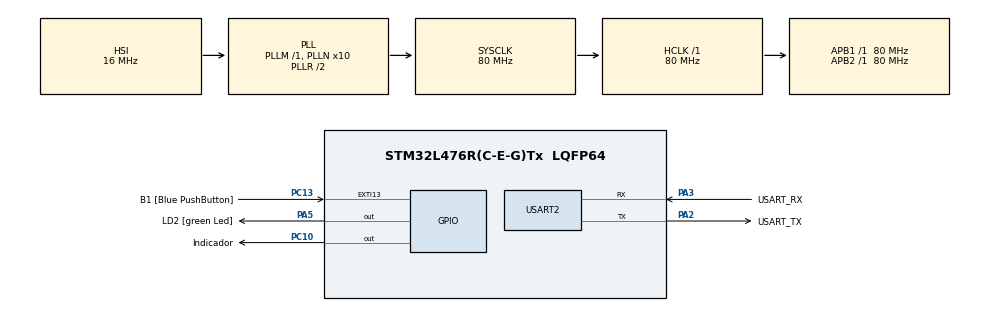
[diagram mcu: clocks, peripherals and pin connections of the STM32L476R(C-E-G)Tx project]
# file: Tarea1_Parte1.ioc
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Dma.MEMTOMEM.0.Direction=DMA_MEMORY_TO_MEMORY
Dma.MEMTOMEM.0.Instance=DMA1_Channel1
Dma.MEMTOMEM.0.MemDataAlignment=DMA_MDATAALIGN_BYTE
Dma.MEMTOMEM.0.MemInc=DMA_MINC_ENABLE
Dma.MEMTOMEM.0.Mode=DMA_NORMAL
Dma.MEMTOMEM.0.PeriphDataAlignment=DMA_PDATAALIGN_BYTE
Dma.MEMTOMEM.0.PeriphInc=DMA_PINC_ENABLE
Dma.MEMTOMEM.0.Priority=DMA_PRIORITY_VERY_HIGH
Dma.Request0=MEMTOMEM
Mcu.Family=STM32L4
Mcu.Name=STM32L476R(C-E-G)Tx
Mcu.Package=LQFP64
NVIC.DMA1_Channel1_IRQn=true\:0\:0\:false\:false\:true\:true\:true\:true
NVIC.PriorityGroup=NVIC_PRIORITYGROUP_4
PA13\ (JTMS-SWDIO).GPIO_Label=TMS
PA13\ (JTMS-SWDIO).Mode=Serial_Wire
PA13\ (JTMS-SWDIO).Signal=SYS_JTMS-SWDIO
PA14\ (JTCK-SWCLK).GPIO_Label=TCK
PA14\ (JTCK-SWCLK).Mode=Serial_Wire
PA14\ (JTCK-SWCLK).Signal=SYS_JTCK-SWCLK
PA2.GPIO_Label=USART_TX
PA2.GPIO_Mode=GPIO_MODE_AF_PP
PA2.GPIO_PuPd=GPIO_NOPULL
PA2.GPIO_Speed=GPIO_SPEED_FREQ_VERY_HIGH
PA2.Mode=Asynchronous
PA2.Signal=USART2_TX
PA3.GPIO_Label=USART_RX
PA3.GPIO_Mode=GPIO_MODE_AF_PP
PA3.GPIO_PuPd=GPIO_NOPULL
PA3.GPIO_Speed=GPIO_SPEED_FREQ_VERY_HIGH
PA3.Mode=Asynchronous
PA3.Signal=USART2_RX
PA5.GPIO_Label=LD2 [green Led]
PA5.GPIO_ModeDefaultOutputPP=GPIO_MODE_OUTPUT_PP
PA5.GPIO_PuPd=GPIO_NOPULL
PA5.GPIO_Speed=GPIO_SPEED_FREQ_LOW
PA5.Signal=GPIO_Output
PB3\ (JTDO-TRACESWO).GPIO_Label=SWO
PB3\ (JTDO-TRACESWO).Signal=SYS_JTDO-SWO
PC10.GPIO_Label=Indicador
PC10.Signal=GPIO_Output
PC13.GPIO_Label=B1 [Blue PushButton]
PC13.GPIO_ModeDefaultEXTI=GPIO_MODE_IT_FALLING
PC13.GPIO_PuPd=GPIO_NOPULL
PC13.Signal=GPXTI13
PC14-OSC32_IN\ (PC14).Mode=LSE-External-Oscillator
PC14-OSC32_IN\ (PC14).Signal=RCC_OSC32_IN
PC15-OSC32_OUT\ (PC15).Mode=LSE-External-Oscillator
PC15-OSC32_OUT\ (PC15).Signal=RCC_OSC32_OUT
PH0-OSC_IN\ (PH0).Signal=RCC_OSC_IN
PH1-OSC_OUT\ (PH1).Signal=RCC_OSC_OUT
ProjectManager.HeapSize=0x200
ProjectManager.StackSize=0x400
ProjectManager.TargetToolchain=STM32CubeIDE
RCC.ADCFreq_Value=64000000
RCC.AHBFreq_Value=80000000
RCC.APB1Freq_Value=80000000
RCC.APB1TimFreq_Value=80000000
RCC.APB2Freq_Value=80000000
RCC.APB2TimFreq_Value=80000000
RCC.CortexFreq_Value=80000000
RCC.HCLKFreq_Value=80000000
RCC.HSE_VALUE=8000000
RCC.HSI_VALUE=16000000
RCC.MSI_VALUE=4000000
RCC.PLLN=10
RCC.PLLSourceVirtual=RCC_PLLSOURCE_HSI
RCC.PREFETCH_ENABLE=1
RCC.SYSCLKFreq_VALUE=80000000
RCC.SYSCLKSource=RCC_SYSCLKSOURCE_PLLCLK
RCC.USBFreq_Value=64000000
RCC.VCOOutputFreq_Value=160000000
USART2.VirtualMode-Asynchronous=VM_ASYNC
board=NUCLEO-L476RG

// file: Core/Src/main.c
/* USER CODE BEGIN Header */
/**
  ******************************************************************************
  * @file           : main.c
  * @brief          : Main program body
  ******************************************************************************
  * @attention
  *
  * Copyright (c) 2026 STMicroelectronics.
  * All rights reserved.
  *
  * This software is licensed under terms that can be found in the LICENSE file
  * in the root directory of this software component.
  * If no LICENSE file comes with this software, it is provided AS-IS.
  *
  ******************************************************************************
  */
/* USER CODE END Header */
#include "main.h"

/* USER CODE BEGIN Includes */
#include "func.h"
#include "string.h"
#include "my_it_callbacks.h"
/* USER CODE END Includes */

/* USER CODE BEGIN PD */
	#define array_size 256
/* USER CODE END PD */

UART_HandleTypeDef huart2;

DMA_HandleTypeDef hdma_memtomem_dma1_channel1;

void SystemClock_Config(void);
static void MX_GPIO_Init(void);
static void MX_DMA_Init(void);
static void MX_USART2_UART_Init(void);

int main(void)
{
  /* USER CODE BEGIN 1 */
	uint8_t origen[array_size];
	uint8_t destino_dma[array_size];
	uint8_t destino_cpy[array_size];

  /* USER CODE END 1 */

  /* MCU Configuration--------------------------------------------------------*/

  /* Reset of all peripherals, Initializes the Flash interface and the Systick. */
  HAL_Init();

  /* Configure the system clock */
  SystemClock_Config();

  /* Initialize all configured peripherals */
  MX_GPIO_Init();
  MX_DMA_Init();
  MX_USART2_UART_Init();
  /* USER CODE BEGIN 2 */
	llenar_array(origen, array_size);

	hdma_memtomem_dma1_channel1.XferCpltCallback = &DmaXferCompleteCallback;

	HAL_Delay(1000);

	HAL_GPIO_WritePin(Indicador_GPIO_Port, Indicador_Pin, GPIO_PIN_SET);

	HAL_DMA_Start_IT(&hdma_memtomem_dma1_channel1,(uint32_t)origen,(uint32_t)destino_dma, array_size);

	HAL_Delay(2000);

	HAL_GPIO_WritePin(Indicador_GPIO_Port, Indicador_Pin, GPIO_PIN_SET);
	memcpy(destino_cpy, origen, array_size);
	HAL_GPIO_WritePin(Indicador_GPIO_Port, Indicador_Pin, GPIO_PIN_RESET);
  /* USER CODE END 2 */

  /* Infinite loop */
  while (1)
  {

  }
}

void SystemClock_Config(void)
{
  RCC_OscInitTypeDef RCC_OscInitStruct = {0};
  RCC_ClkInitTypeDef RCC_ClkInitStruct = {0};

  /** Configure the main internal regulator output voltage
  */
  if (HAL_PWREx_ControlVoltageScaling(PWR_REGULATOR_VOLTAGE_SCALE1) != HAL_OK)
  {
    Error_Handler();
  }

  /** Initializes the RCC Oscillators according to the specified parameters
  * in the RCC_OscInitTypeDef structure.
  */
  RCC_OscInitStruct.OscillatorType = RCC_OSCILLATORTYPE_HSI;
  RCC_OscInitStruct.HSIState = RCC_HSI_ON;
  RCC_OscInitStruct.HSICalibrationValue = RCC_HSICALIBRATION_DEFAULT;
  RCC_OscInitStruct.PLL.PLLState = RCC_PLL_ON;
  RCC_OscInitStruct.PLL.PLLSource = RCC_PLLSOURCE_HSI;
  RCC_OscInitStruct.PLL.PLLM = 1;
  RCC_OscInitStruct.PLL.PLLN = 10;
  RCC_OscInitStruct.PLL.PLLP = RCC_PLLP_DIV7;
  RCC_OscInitStruct.PLL.PLLQ = RCC_PLLQ_DIV2;
  RCC_OscInitStruct.PLL.PLLR = RCC_PLLR_DIV2;
  if (HAL_RCC_OscConfig(&RCC_OscInitStruct) != HAL_OK)
  {
    Error_Handler();
  }

  /** Initializes the CPU, AHB and APB buses clocks
  */
  RCC_ClkInitStruct.ClockType = RCC_CLOCKTYPE_HCLK|RCC_CLOCKTYPE_SYSCLK
                              |RCC_CLOCKTYPE_PCLK1|RCC_CLOCKTYPE_PCLK2;
  RCC_ClkInitStruct.SYSCLKSource = RCC_SYSCLKSOURCE_PLLCLK;
  RCC_ClkInitStruct.AHBCLKDivider = RCC_SYSCLK_DIV1;
  RCC_ClkInitStruct.APB1CLKDivider = RCC_HCLK_DIV1;
  RCC_ClkInitStruct.APB2CLKDivider = RCC_HCLK_DIV1;

  if (HAL_RCC_ClockConfig(&RCC_ClkInitStruct, FLASH_LATENCY_4) != HAL_OK)
  {
    Error_Handler();
  }
}

static void MX_USART2_UART_Init(void)
{

  huart2.Instance = USART2;
  huart2.Init.BaudRate = 115200;
  huart2.Init.WordLength = UART_WORDLENGTH_8B;
  huart2.Init.StopBits = UART_STOPBITS_1;
  huart2.Init.Parity = UART_PARITY_NONE;
  huart2.Init.Mode = UART_MODE_TX_RX;
  huart2.Init.HwFlowCtl = UART_HWCONTROL_NONE;
  huart2.Init.OverSampling = UART_OVERSAMPLING_16;
  huart2.Init.OneBitSampling = UART_ONE_BIT_SAMPLE_DISABLE;
  huart2.AdvancedInit.AdvFeatureInit = UART_ADVFEATURE_NO_INIT;
  if (HAL_UART_Init(&huart2) != HAL_OK)
  {
    Error_Handler();
  }

}

static void MX_DMA_Init(void)
{

  /* DMA controller clock enable */
  __HAL_RCC_DMA1_CLK_ENABLE();

  /* Configure DMA request hdma_memtomem_dma1_channel1 on DMA1_Channel1 */
  hdma_memtomem_dma1_channel1.Instance = DMA1_Channel1;
  hdma_memtomem_dma1_channel1.Init.Request = DMA_REQUEST_0;
  hdma_memtomem_dma1_channel1.Init.Direction = DMA_MEMORY_TO_MEMORY;
  hdma_memtomem_dma1_channel1.Init.PeriphInc = DMA_PINC_ENABLE;
  hdma_memtomem_dma1_channel1.Init.MemInc = DMA_MINC_ENABLE;
  hdma_memtomem_dma1_channel1.Init.PeriphDataAlignment = DMA_PDATAALIGN_BYTE;
  hdma_memtomem_dma1_channel1.Init.MemDataAlignment = DMA_MDATAALIGN_BYTE;
  hdma_memtomem_dma1_channel1.Init.Mode = DMA_NORMAL;
  hdma_memtomem_dma1_channel1.Init.Priority = DMA_PRIORITY_VERY_HIGH;
  if (HAL_DMA_Init(&hdma_memtomem_dma1_channel1) != HAL_OK)
  {
    Error_Handler( );
  }

  /* DMA interrupt init */
  /* DMA1_Channel1_IRQn interrupt configuration */
  HAL_NVIC_SetPriority(DMA1_Channel1_IRQn, 0, 0);
  HAL_NVIC_EnableIRQ(DMA1_Channel1_IRQn);

}

static void MX_GPIO_Init(void)
{
  GPIO_InitTypeDef GPIO_InitStruct = {0};

  /* GPIO Ports Clock Enable */
  __HAL_RCC_GPIOC_CLK_ENABLE();
  __HAL_RCC_GPIOH_CLK_ENABLE();
  __HAL_RCC_GPIOA_CLK_ENABLE();
  __HAL_RCC_GPIOB_CLK_ENABLE();

  /*Configure GPIO pin Output Level */
  HAL_GPIO_WritePin(LD2_GPIO_Port, LD2_Pin, GPIO_PIN_RESET);

  /*Configure GPIO pin Output Level */
  HAL_GPIO_WritePin(Indicador_GPIO_Port, Indicador_Pin, GPIO_PIN_RESET);

  /*Configure GPIO pin : B1_Pin */
  GPIO_InitStruct.Pin = B1_Pin;
  GPIO_InitStruct.Mode = GPIO_MODE_IT_FALLING;
  GPIO_InitStruct.Pull = GPIO_NOPULL;
  HAL_GPIO_Init(B1_GPIO_Port, &GPIO_InitStruct);

  /*Configure GPIO pin : LD2_Pin */
  GPIO_InitStruct.Pin = LD2_Pin;
  GPIO_InitStruct.Mode = GPIO_MODE_OUTPUT_PP;
  GPIO_InitStruct.Pull = GPIO_NOPULL;
  GPIO_InitStruct.Speed = GPIO_SPEED_FREQ_LOW;
  HAL_GPIO_Init(LD2_GPIO_Port, &GPIO_InitStruct);

  /*Configure GPIO pin : Indicador_Pin */
  GPIO_InitStruct.Pin = Indicador_Pin;
  GPIO_InitStruct.Mode = GPIO_MODE_OUTPUT_PP;
  GPIO_InitStruct.Pull = GPIO_NOPULL;
  GPIO_InitStruct.Speed = GPIO_SPEED_FREQ_LOW;
  HAL_GPIO_Init(Indicador_GPIO_Port, &GPIO_InitStruct);

}

void Error_Handler(void)
{
  __disable_irq();
  while (1)
  {
  }
}
